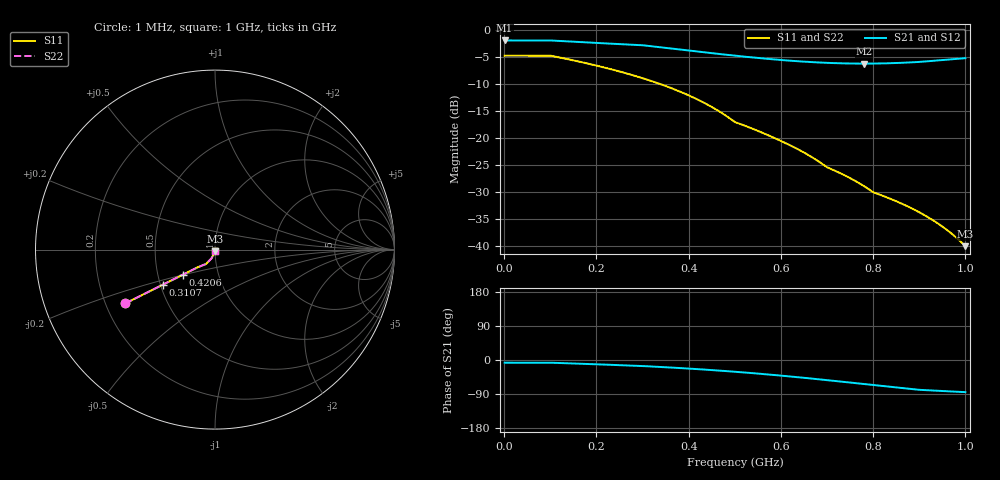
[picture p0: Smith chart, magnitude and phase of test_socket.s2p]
! Touchstone file generated by xDriver.py
# Hz S RI R 50
! Freq ReS11 ImS11 ReS21 ImS21 ReS12 ImS12 ReS22 ImS22
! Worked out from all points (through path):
!   201 points, 1 MHz to 1 GHz, reference 50 ohm
!   highest |S21| = -1.87 dB at 1 MHz (marker M1); lowest = -6.2 dB at 780.2 MHz (marker M2)
!   group delay of S21, straight-line fit = 242 ps
!   lowest |S11| = -40.0 dB at 1 GHz (marker M3), VSWR 1.02, Z = 50 - j1 ohm
!   |S11| at or under -10 dB: 340 MHz to end of sweep
!   |S22| runs from -40.0 to -4.7 dB; largest |S21 - S12| = 0
!   S11 on the Smith chart (normalised r, x): 1 MHz: 0.28, -0.26; 310.7 MHz: 0.52, -0.23; 420.6 MHz: 0.67, -0.20; 1 GHz: 1.00, -0.02
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1000000  -0.5 -0.3  0.8 -0.1  0.8 -0.1  -0.5 -0.3
1.009e8  -0.4991 -0.2995  0.7995 -0.1004  0.7995 -0.1004  -0.4991 -0.2995
1.7083e8  -0.4292 -0.2646  0.7646 -0.1354  0.7646 -0.1354  -0.4292 -0.2646
2.45755e8  -0.3542 -0.2271  0.7271 -0.1729  0.7271 -0.1729  -0.3542 -0.2271
3.1069e8  -0.2893 -0.1947  0.6893 -0.2053  0.6893 -0.2053  -0.2893 -0.1947
3.35665e8  -0.2643 -0.1822  0.6643 -0.2178  0.6643 -0.2178  -0.2643 -0.1822
3.8062e8  -0.2194 -0.1597  0.6194 -0.2403  0.6194 -0.2403  -0.2194 -0.1597
4.2058e8  -0.1794 -0.1397  0.5794 -0.2603  0.5794 -0.2603  -0.1794 -0.1397
4.6054e8  -0.1395 -0.1197  0.5395 -0.2803  0.5395 -0.2803  -0.1395 -0.1197
5.005e8  -0.0998 -0.0999  0.4995 -0.3003  0.4995 -0.3003  -0.0998 -0.0999
5.5045e8  -0.0748 -0.0899  0.4496 -0.3252  0.4496 -0.3252  -0.0748 -0.0899
6.05395e8  -0.0484 -0.0784  0.3946 -0.3527  0.3946 -0.3527  -0.0484 -0.0784
6.7033e8  -0.0289 -0.0589  0.3297 -0.3852  0.3297 -0.3852  -0.0289 -0.0589
7.003e8  -0.02 -0.0499  0.2997 -0.4002  0.2997 -0.4002  -0.02 -0.0499
7.45255e8  -0.0155 -0.0409  0.2547 -0.4226  0.2547 -0.4226  -0.0155 -0.0409
7.8022e8  -0.012 -0.034  0.2198 -0.4401  0.2198 -0.4401  -0.012 -0.034
8.002e8  -0.00999 -0.03  0.1998 -0.4501  0.1998 -0.4501  -0.00999 -0.03
8.35165e8  -0.00824 -0.0265  0.1648 -0.4676  0.1648 -0.4676  -0.00824 -0.0265
8.85115e8  -0.00574 -0.0215  0.1149 -0.4926  0.1149 -0.4926  -0.00574 -0.0215
9.3007e8  -0.0035 -0.017  0.085 -0.515  0.085 -0.515  -0.0035 -0.017
9.65035e8  -0.00175 -0.0135  0.0675 -0.5325  0.0675 -0.5325  -0.00175 -0.0135
1e9  0 -0.01  0.05 -0.55  0.05 -0.55  0 -0.01
